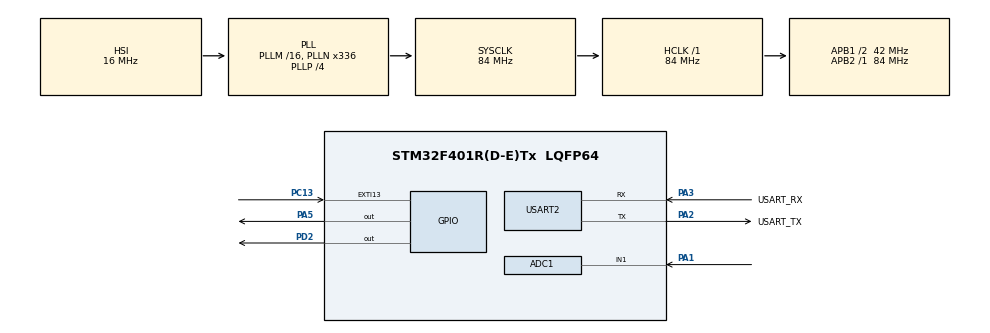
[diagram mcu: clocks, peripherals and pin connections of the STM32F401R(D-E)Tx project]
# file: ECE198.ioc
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ADC1.Channel-1\#ChannelRegularConversion=ADC_CHANNEL_1
ADC1.ContinuousConvMode=ENABLE
ADC1.NbrOfConversionFlag=1
ADC1.Rank-1\#ChannelRegularConversion=1
ADC1.Resolution=ADC_RESOLUTION_12B
ADC1.SamplingTime-1\#ChannelRegularConversion=ADC_SAMPLETIME_28CYCLES
ADC1.master=1
Mcu.Family=STM32F4
Mcu.Name=STM32F401R(D-E)Tx
Mcu.Package=LQFP64
NVIC.PriorityGroup=NVIC_PRIORITYGROUP_0
PA1.Signal=ADCx_IN1
PA13.GPIO_Label=TMS
PA13.Mode=Serial_Wire
PA13.Signal=SYS_JTMS-SWDIO
PA14.GPIO_Label=TCK
PA14.Mode=Serial_Wire
PA14.Signal=SYS_JTCK-SWCLK
PA2.GPIO_Label=USART_TX
PA2.GPIO_Mode=GPIO_MODE_AF_PP
PA2.GPIO_PuPd=GPIO_NOPULL
PA2.GPIO_Speed=GPIO_SPEED_FREQ_LOW
PA2.Mode=Asynchronous
PA2.Signal=USART2_TX
PA3.GPIO_Label=USART_RX
PA3.GPIO_Mode=GPIO_MODE_AF_PP
PA3.GPIO_PuPd=GPIO_NOPULL
PA3.GPIO_Speed=GPIO_SPEED_FREQ_LOW
PA3.Mode=Asynchronous
PA3.Signal=USART2_RX
PA5.Signal=GPIO_Output
PB3.GPIO_Label=SWO
PB3.Signal=SYS_JTDO-SWO
PC13-ANTI_TAMP.Signal=GPXTI13
PC14-OSC32_IN.Signal=RCC_OSC32_IN
PC15-OSC32_OUT.Signal=RCC_OSC32_OUT
PD2.Signal=GPIO_Output
PH0\ -\ OSC_IN.Mode=HSE-External-Oscillator
PH0\ -\ OSC_IN.Signal=RCC_OSC_IN
PH1\ -\ OSC_OUT.Mode=HSE-External-Oscillator
PH1\ -\ OSC_OUT.Signal=RCC_OSC_OUT
ProjectManager.HeapSize=0x200
ProjectManager.StackSize=0x400
ProjectManager.TargetToolchain=STM32CubeIDE
RCC.48MHZClocksFreq_Value=48000000
RCC.AHBFreq_Value=84000000
RCC.APB1CLKDivider=RCC_HCLK_DIV2
RCC.APB1Freq_Value=42000000
RCC.APB1TimFreq_Value=84000000
RCC.APB2Freq_Value=84000000
RCC.APB2TimFreq_Value=84000000
RCC.CortexFreq_Value=84000000
RCC.HCLKFreq_Value=84000000
RCC.HSE_VALUE=8000000
RCC.HSI_VALUE=16000000
RCC.LSE_VALUE=32768
RCC.PLLN=336
RCC.PLLP=RCC_PLLP_DIV4
RCC.PLLQ=7
RCC.SYSCLKFreq_VALUE=84000000
RCC.SYSCLKSource=RCC_SYSCLKSOURCE_PLLCLK
RCC.VCOOutputFreq_Value=336000000
SH.ADCx_IN1.0=ADC1_IN1,IN1
USART2.VirtualMode=VM_ASYNC
board=NUCLEO-F401RE

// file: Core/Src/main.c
/* USER CODE BEGIN Header */
/**
 ******************************************************************************
 * @file           : main.c
 * @brief          : Main program body
 ******************************************************************************
 * @attention
 *
 * Copyright (c) 2022 STMicroelectronics.
 * All rights reserved.
 *
 * This software is licensed under terms that can be found in the LICENSE file
 * in the root directory of this software component.
 * If no LICENSE file comes with this software, it is provided AS-IS.
 *
 ******************************************************************************
 */
/* USER CODE END Header */
#include "main.h"

ADC_HandleTypeDef hadc1;

UART_HandleTypeDef huart2;

/* USER CODE BEGIN PV */
uint32_t previous = 0;
uint32_t next = 0;
/* USER CODE END PV */

void SystemClock_Config(void);
static void MX_GPIO_Init(void);
static void MX_USART2_UART_Init(void);
static void MX_ADC1_Init(void);
/* USER CODE BEGIN PFP */
uint8_t Detect_People(void);
/* USER CODE END PFP */

int main(void)
{

  /* MCU Configuration--------------------------------------------------------*/

  /* Reset of all peripherals, Initializes the Flash interface and the Systick. */
  HAL_Init();

  /* Configure the system clock */
  SystemClock_Config();

  /* Initialize all configured peripherals */
  MX_GPIO_Init();
  MX_USART2_UART_Init();
  MX_ADC1_Init();

  /* Infinite loop */
  /* USER CODE BEGIN WHILE */
  while (1)
  {
    // HAL_GPIO_WritePin(GPIOA, GPIO_PIN_5, GPIO_PIN_SET);
    uint8_t changed = Detect_People();
    if (changed == 1)
    {
      if (previous == 0)
      {
        HAL_GPIO_WritePin(GPIOA, GPIO_PIN_5, GPIO_PIN_SET);
        previous = 1;
      }
      else
      {
        HAL_GPIO_WritePin(GPIOA, GPIO_PIN_5, GPIO_PIN_RESET);
        previous = 0;
      }
    }

    /* USER CODE END WHILE */

    /* USER CODE BEGIN 3 */
    HAL_Delay(100);
    // HAL_GPIO_WritePin(GPIOA, GPIO_PIN_5, GPIO_PIN_RESET);
  }
  /* USER CODE END 3 */
}

void SystemClock_Config(void)
{
  RCC_OscInitTypeDef RCC_OscInitStruct = {0};
  RCC_ClkInitTypeDef RCC_ClkInitStruct = {0};

  /** Configure the main internal regulator output voltage
   */
  __HAL_RCC_PWR_CLK_ENABLE();
  __HAL_PWR_VOLTAGESCALING_CONFIG(PWR_REGULATOR_VOLTAGE_SCALE2);

  /** Initializes the RCC Oscillators according to the specified parameters
   * in the RCC_OscInitTypeDef structure.
   */
  RCC_OscInitStruct.OscillatorType = RCC_OSCILLATORTYPE_HSI;
  RCC_OscInitStruct.HSIState = RCC_HSI_ON;
  RCC_OscInitStruct.HSICalibrationValue = RCC_HSICALIBRATION_DEFAULT;
  RCC_OscInitStruct.PLL.PLLState = RCC_PLL_ON;
  RCC_OscInitStruct.PLL.PLLSource = RCC_PLLSOURCE_HSI;
  RCC_OscInitStruct.PLL.PLLM = 16;
  RCC_OscInitStruct.PLL.PLLN = 336;
  RCC_OscInitStruct.PLL.PLLP = RCC_PLLP_DIV4;
  RCC_OscInitStruct.PLL.PLLQ = 7;
  if (HAL_RCC_OscConfig(&RCC_OscInitStruct) != HAL_OK)
  {
    Error_Handler();
  }

  /** Initializes the CPU, AHB and APB buses clocks
   */
  RCC_ClkInitStruct.ClockType = RCC_CLOCKTYPE_HCLK | RCC_CLOCKTYPE_SYSCLK | RCC_CLOCKTYPE_PCLK1 | RCC_CLOCKTYPE_PCLK2;
  RCC_ClkInitStruct.SYSCLKSource = RCC_SYSCLKSOURCE_PLLCLK;
  RCC_ClkInitStruct.AHBCLKDivider = RCC_SYSCLK_DIV1;
  RCC_ClkInitStruct.APB1CLKDivider = RCC_HCLK_DIV2;
  RCC_ClkInitStruct.APB2CLKDivider = RCC_HCLK_DIV1;

  if (HAL_RCC_ClockConfig(&RCC_ClkInitStruct, FLASH_LATENCY_2) != HAL_OK)
  {
    Error_Handler();
  }
}

static void MX_ADC1_Init(void)
{

  ADC_ChannelConfTypeDef sConfig = {0};

  /** Configure the global features of the ADC (Clock, Resolution, Data Alignment and number of conversion)
   */
  hadc1.Instance = ADC1;
  hadc1.Init.ClockPrescaler = ADC_CLOCK_SYNC_PCLK_DIV4;
  hadc1.Init.Resolution = ADC_RESOLUTION_12B;
  hadc1.Init.ScanConvMode = DISABLE;
  hadc1.Init.ContinuousConvMode = ENABLE;
  hadc1.Init.DiscontinuousConvMode = DISABLE;
  hadc1.Init.ExternalTrigConvEdge = ADC_EXTERNALTRIGCONVEDGE_NONE;
  hadc1.Init.ExternalTrigConv = ADC_SOFTWARE_START;
  hadc1.Init.DataAlign = ADC_DATAALIGN_RIGHT;
  hadc1.Init.NbrOfConversion = 1;
  hadc1.Init.DMAContinuousRequests = DISABLE;
  hadc1.Init.EOCSelection = ADC_EOC_SINGLE_CONV;
  if (HAL_ADC_Init(&hadc1) != HAL_OK)
  {
    Error_Handler();
  }

  /** Configure for the selected ADC regular channel its corresponding rank in the sequencer and its sample time.
   */
  sConfig.Channel = ADC_CHANNEL_1;
  sConfig.Rank = 1;
  sConfig.SamplingTime = ADC_SAMPLETIME_28CYCLES;
  if (HAL_ADC_ConfigChannel(&hadc1, &sConfig) != HAL_OK)
  {
    Error_Handler();
  }
}

static void MX_USART2_UART_Init(void)
{

  huart2.Instance = USART2;
  huart2.Init.BaudRate = 115200;
  huart2.Init.WordLength = UART_WORDLENGTH_8B;
  huart2.Init.StopBits = UART_STOPBITS_1;
  huart2.Init.Parity = UART_PARITY_NONE;
  huart2.Init.Mode = UART_MODE_TX_RX;
  huart2.Init.HwFlowCtl = UART_HWCONTROL_NONE;
  huart2.Init.OverSampling = UART_OVERSAMPLING_16;
  if (HAL_UART_Init(&huart2) != HAL_OK)
  {
    Error_Handler();
  }
}

static void MX_GPIO_Init(void)
{
  GPIO_InitTypeDef GPIO_InitStruct = {0};

  /* GPIO Ports Clock Enable */
  __HAL_RCC_GPIOC_CLK_ENABLE();
  __HAL_RCC_GPIOH_CLK_ENABLE();
  __HAL_RCC_GPIOA_CLK_ENABLE();
  __HAL_RCC_GPIOD_CLK_ENABLE();
  __HAL_RCC_GPIOB_CLK_ENABLE();

  /*Configure GPIO pin Output Level */
  HAL_GPIO_WritePin(GPIOA, GPIO_PIN_5, GPIO_PIN_RESET);

  /*Configure GPIO pin Output Level */
  HAL_GPIO_WritePin(GPIOD, GPIO_PIN_2, GPIO_PIN_RESET);

  /*Configure GPIO pin : PC13 */
  GPIO_InitStruct.Pin = GPIO_PIN_13;
  GPIO_InitStruct.Mode = GPIO_MODE_IT_RISING;
  GPIO_InitStruct.Pull = GPIO_NOPULL;
  HAL_GPIO_Init(GPIOC, &GPIO_InitStruct);

  /*Configure GPIO pin : PA5 */
  GPIO_InitStruct.Pin = GPIO_PIN_5;
  GPIO_InitStruct.Mode = GPIO_MODE_OUTPUT_PP;
  GPIO_InitStruct.Pull = GPIO_NOPULL;
  GPIO_InitStruct.Speed = GPIO_SPEED_FREQ_LOW;
  HAL_GPIO_Init(GPIOA, &GPIO_InitStruct);

  /*Configure GPIO pin : PD2 */
  GPIO_InitStruct.Pin = GPIO_PIN_2;
  GPIO_InitStruct.Mode = GPIO_MODE_OUTPUT_PP;
  GPIO_InitStruct.Pull = GPIO_NOPULL;
  GPIO_InitStruct.Speed = GPIO_SPEED_FREQ_LOW;
  HAL_GPIO_Init(GPIOD, &GPIO_InitStruct);
}

/* USER CODE BEGIN 4 */
uint32_t Read_ADC()
{
  HAL_ADC_Start(&hadc1);
  HAL_ADC_PollForConversion(&hadc1, HAL_MAX_DELAY);
  uint32_t sample1 = HAL_ADC_GetValue(&hadc1);
  HAL_ADC_Stop(&hadc1);
  return sample1;
}

uint8_t Detect_People()
{
  uint32_t sample1 = 0;
  uint32_t sample2 = 0;

  while (sample1 < 1000 || sample1 > 4500)
  {
    sample1 = Read_ADC();
    HAL_Delay(100);
  }

  // HAL_Delay(3000);

  while (sample2 < 1000 || sample2 > 4500)
  {
    sample2 = Read_ADC();
    HAL_Delay(100);
  }

  if (sample1 > sample2)
  {
    if ((sample1 - sample2) > 900)
    {
      return 1;
    }
  }
  else
  {
    if ((sample2 - sample1) > 900)
    {
      return 1;
    }
  }
  return 0;
}
/* USER CODE END 4 */

void Error_Handler(void)
{
  __disable_irq();
  while (1)
  {
  }
}
